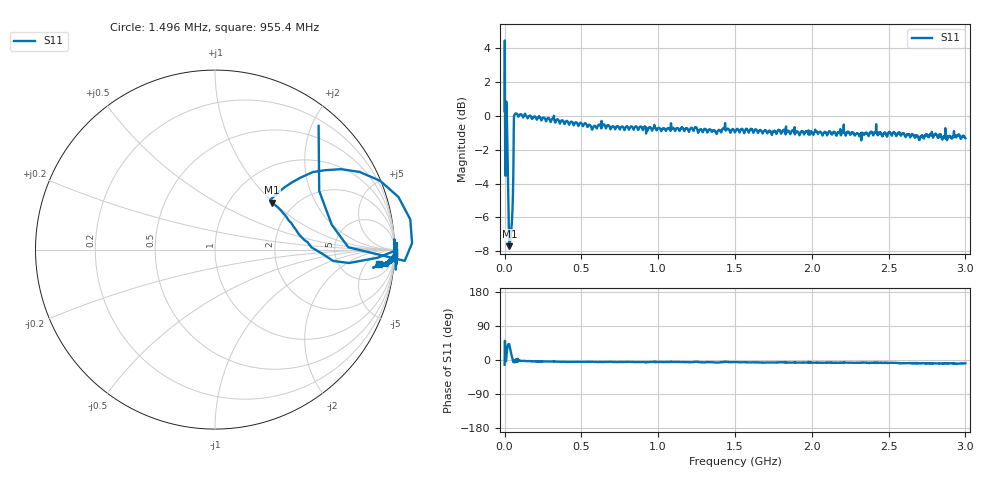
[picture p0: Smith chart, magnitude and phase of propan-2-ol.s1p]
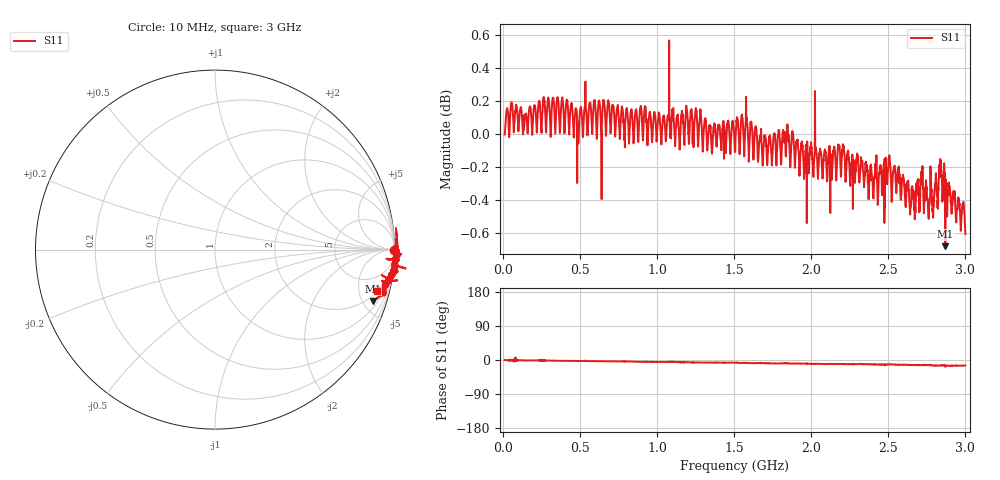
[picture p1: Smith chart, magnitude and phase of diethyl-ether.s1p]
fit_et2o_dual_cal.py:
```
"""
Dual-Reference Calibration (Water + Isopropanol) for Diethyl Ether Analysis

Method:
1. Load Reference Data:
   - Isopropanol (NPL 15°C)
   - Water (Literature 20°C)
2. Load S1P Measurements:
   - Isopropanol
   - Water
   - Diethyl Ether
3. Create Dual Calibration Mapping:
   Model: ε = α * Y + β
   Where Y = (1-S11)/(1+S11) (Admittance)
   We solve for complex coefficients α and β at each frequency using the two standards.
4. Apply mapping to Diethyl Ether S1P to extract permittivity.
5. Fit Debye model to the result.
"""

import numpy as np
import matplotlib.pyplot as plt
from pathlib import Path
import sys
from scipy.optimize import minimize

# Add parent directory to path for imports
sys.path.insert(0, str(Path(__file__).parent))
from ml_classifier.data_loader import parse_s1p_file

# =============================================================================
# MODELS
# =============================================================================

def debye_model(f, eps_s, eps_inf, tau):
    """Single Debye relaxation - returns complex permittivity"""
    omega = 2 * np.pi * f
    denom = 1 + (omega * tau)**2
    eps_prime = eps_inf + (eps_s - eps_inf) / denom
    eps_double_prime = (eps_s - eps_inf) * omega * tau / denom
    return eps_prime, eps_double_prime

def s11_to_admittance(s11_mag, phase_rad):
    """Convert S11 (polar) to Admittance Y = (1-Gamma)/(1+Gamma)"""
    gamma = s11_mag * np.exp(1j * phase_rad)
    # Avoid division by zero if gamma is exactly -1
    gamma = np.where(gamma == -1, -0.999999, gamma)
    y = (1 - gamma) / (1 + gamma)
    return y

# =============================================================================
# DATA LOADING
# =============================================================================

def load_npl_isopropanol():
    """Load NPL reference data for isopropanol at 15C"""
    csv_path = Path("isopropanol_permittivity_15C_NPL.csv")
    if not csv_path.exists():
        raise FileNotFoundError(f"Could not find {csv_path}")
        
    data = np.genfromtxt(csv_path, delimiter=',', skip_header=1)
    return {
        'freq_hz': data[:, 0] * 1e9,
        'freq_ghz': data[:, 0],
        'eps_prime': data[:, 1],
        'eps_double_prime': data[:, 3]
    }

def load_literature_water():
    """Load literature water permittivity data"""
    csv_path = Path("water_permittivity_literature.csv")
    if not csv_path.exists():
        raise FileNotFoundError(f"Could not find {csv_path}")
        
    data = np.genfromtxt(csv_path, delimiter=',', skip_header=1)
    return {
        'freq_ghz': data[:, 0],
        'eps_prime_20C': data[:, 3],
        'eps_double_prime_20C': data[:, 4]
    }

def load_s1p_file(filepath):
    """Load S1P file and return frequency, magnitude (linear), phase (rad)"""
    freq_hz, s11_db, phase_deg = parse_s1p_file(filepath)
    return {
        'freq_hz': freq_hz,
        'freq_ghz': freq_hz / 1e9,
        's11_mag': 10 ** (s11_db / 20),
        'phase_rad': np.deg2rad(phase_deg),
        's11_db': s11_db,
        'phase_deg': phase_deg
    }

# =============================================================================
# DUAL CALIBRATION
# =============================================================================

def create_dual_calibration(npl_iso, lit_water, s1p_iso, s1p_water, freq_range=(0.1e9, 3e9)):
    """
    Create calibration using TWO standards: Isopropanol and Water.
    Model: epsilon = alpha * Y + beta
    """
    # Common frequencies (use NPL iso frequencies as base)
    mask = (npl_iso['freq_hz'] >= freq_range[0]) & (npl_iso['freq_hz'] <= freq_range[1])
    freqs = npl_iso['freq_hz'][mask]
    
    # 1. Reference Permittivities at these frequencies
    # Isopropanol
    eps_iso = npl_iso['eps_prime'][mask] - 1j * npl_iso['eps_double_prime'][mask]
    
    # Water (Interpolate literature data)
    # Use 20C data as it's closest to 18C measurements
    eps_water_prime = np.interp(freqs/1e9, lit_water['freq_ghz'], lit_water['eps_prime_20C'])
    eps_water_dprime = np.interp(freqs/1e9, lit_water['freq_ghz'], lit_water['eps_double_prime_20C'])
    eps_water = eps_water_prime - 1j * eps_water_dprime
    
    # 2. Measured Admittances at these frequencies
    # Isopropanol
    s11_iso_mag = np.interp(freqs, s1p_iso['freq_hz'], s1p_iso['s11_mag'])
    phase_iso = np.interp(freqs, s1p_iso['freq_hz'], s1p_iso['phase_rad'])
    y_iso = s11_to_admittance(s11_iso_mag, phase_iso)
    
    # Water
    s11_water_mag = np.interp(freqs, s1p_water['freq_hz'], s1p_water['s11_mag'])
    phase_water = np.interp(freqs, s1p_water['freq_hz'], s1p_water['phase_rad'])
    y_water = s11_to_admittance(s11_water_mag, phase_water)
    
    # 3. Solve for alpha and beta
    # epsilon = alpha * Y + beta
    # eps_iso = alpha * y_iso + beta
    # eps_water = alpha * y_water + beta
    
    # Subtracting: eps_water - eps_iso = alpha * (y_water - y_iso)
    # alpha = (eps_water - eps_iso) / (y_water - y_iso)
    
    denom = y_water - y_iso
    # Avoid division by zero
    denom = np.where(np.abs(denom) < 1e-10, 1e-10, denom)
    
    alpha = (eps_water - eps_iso) / denom
    beta = eps_water - alpha * y_water
    
    return {
        'freq_hz': freqs,
        'alpha': alpha,
        'beta': beta,
        'y_iso': y_iso,
        'y_water': y_water,
        'eps_iso': eps_iso,
        'eps_water': eps_water
    }

def apply_dual_calibration(calibration, s1p_target):
    """Apply dual calibration to target S1P data"""
    cal_freqs = calibration['freq_hz']
    alpha = calibration['alpha']
    beta = calibration['beta']
    
    # Interpolate target S1P to calibration frequencies
    s11_mag_interp = np.interp(cal_freqs, s1p_target['freq_hz'], s1p_target['s11_mag'])
    phase_rad_interp = np.interp(cal_freqs, s1p_target['freq_hz'], s1p_target['phase_rad'])
    
    # Calculate Admittance Y for Target
    y_target = s11_to_admittance(s11_mag_interp, phase_rad_interp)
    
    # Apply Calibration: epsilon = alpha * Y + beta
    eps_complex = alpha * y_target + beta
    
    return {
        'freq_hz': cal_freqs,
        'freq_ghz': cal_freqs / 1e9,
        'eps_prime': np.real(eps_complex),
        'eps_double_prime': -np.imag(eps_complex), # Convention: eps'' is positive loss
        'y_target': y_target
    }

def fit_debye_parameters(freq_hz, eps_prime, eps_double_prime):
    """Fit Debye model to extracted permittivity"""
    
    def residual(params):
        eps_s, eps_inf, tau = params
        ep, edp = debye_model(freq_hz, eps_s, eps_inf, tau)
        
        # Weighted residual
        res_p = np.sum(((eps_prime - ep) / np.mean(eps_prime))**2)
        res_dp = np.sum(((eps_double_prime - edp) / (np.mean(eps_double_prime)+0.1))**2)
        return res_p + res_dp

    # Initial guesses for Diethyl Ether
    x0 = [4.3, 1.8, 3e-12] # eps_s, eps_inf, tau
    bounds = [(2, 10), (1, 5), (1e-14, 1e-10)]
    
    result = minimize(residual, x0, bounds=bounds, method='L-BFGS-B')
    
    eps_s, eps_inf, tau = result.x
    
    # Calculate R2
    ep_fit, edp_fit = debye_model(freq_hz, eps_s, eps_inf, tau)
    ss_res = np.sum((eps_prime - ep_fit)**2) + np.sum((eps_double_prime - edp_fit)**2)
    ss_tot = np.sum((eps_prime - np.mean(eps_prime))**2) + np.sum((eps_double_prime - np.mean(eps_double_prime))**2)
    r2 = 1 - (ss_res / ss_tot)
    
    return {
        'eps_s': eps_s,
        'eps_inf': eps_inf,
        'tau': tau,
        'f_relax': 1/(2*np.pi*tau),
        'r2': r2
    }

# =============================================================================
# PLOTTING
# =============================================================================

def plot_results(calibration, et2o_result, et2o_fit, output_path):
    """Plot the results"""
    fig, axes = plt.subplots(2, 2, figsize=(14, 10))
    
    # 1. Calibration Standards (Admittance Plane)
    ax = axes[0, 0]
    ax.plot(np.real(calibration['y_iso']), np.imag(calibration['y_iso']), 'b-', label='Iso (Ref)')
    ax.plot(np.real(calibration['y_water']), np.imag(calibration['y_water']), 'c-', label='Water (Ref)')
    ax.plot(np.real(et2o_result['y_target']), np.imag(et2o_result['y_target']), 'r-', label='Et2O (Target)')
    ax.set_title("Admittance Plane (Y)")
    ax.set_xlabel("Real(Y)")
    ax.set_ylabel("Imag(Y)")
    ax.legend()
    ax.grid(True, alpha=0.3)
    
    # 2. Calibration Coefficients
    ax = axes[0, 1]
    freq_ghz = calibration['freq_hz'] / 1e9
    ax.plot(freq_ghz, np.abs(calibration['alpha']), 'g-', label='|α|')
    ax.plot(freq_ghz, np.abs(calibration['beta']), 'm-', label='|β|')
    ax.set_title("Calibration Coeffs (ε = αY + β)")
    ax.set_xlabel("Frequency (GHz)")
    ax.set_ylabel("Magnitude")
    ax.legend()
    ax.grid(True, alpha=0.3)
    
    # 3. Extracted Et2O Permittivity & Fit
    ax = axes[1, 0]
    freq_smooth = np.linspace(et2o_result['freq_hz'].min(), et2o_result['freq_hz'].max(), 100)
    ep_fit, edp_fit = debye_model(freq_smooth, et2o_fit['eps_s'], et2o_fit['eps_inf'], et2o_fit['tau'])
    
    ax.plot(et2o_result['freq_ghz'], et2o_result['eps_prime'], 'bo', alpha=0.5, label="Data")
    ax.plot(freq_smooth/1e9, ep_fit, 'k--', linewidth=2, label="Debye Fit")
    
    ax.set_title(f"Et2O ε' Fit (εs={et2o_fit['eps_s']:.2f})")
    ax.set_xlabel("Frequency (GHz)")
    ax.set_ylabel("Real Permittivity")
    ax.legend()
    ax.grid(True, alpha=0.3)
    
    # 4. Imaginary Part
    ax = axes[1, 1]
    ax.plot(et2o_result['freq_ghz'], et2o_result['eps_double_prime'], 'ro', alpha=0.5, label="Data")
    ax.plot(freq_smooth/1e9, edp_fit, 'k--', linewidth=2, label="Debye Fit")
    
    ax.set_title(f"Et2O ε'' Fit (τ={et2o_fit['tau']*1e12:.1f}ps)")
    ax.set_xlabel("Frequency (GHz)")
    ax.set_ylabel("Imaginary Permittivity")
    ax.legend()
    ax.grid(True, alpha=0.3)
    
    plt.suptitle(f"Diethyl Ether Dual-Cal Analysis (Water+Iso)\nR²={et2o_fit['r2']:.4f}", fontsize=14)
    plt.tight_layout(rect=[0, 0.03, 1, 0.97])
    plt.savefig(output_path, dpi=300)
    print(f"Saved plot to {output_path}")

# =============================================================================
# MAIN
# =============================================================================

def main():
    print("="*80)
    print("DIETHYL ETHER DUAL-CALIBRATION ANALYSIS")
    print("Using both Water and Isopropanol as references")
    print("="*80)
    
    # 1. Load References
    print("Loading Reference Data...")
    try:
        npl_iso = load_npl_isopropanol()
        lit_water = load_literature_water()
    except Exception as e:
        print(f"Error loading references: {e}")
        return

    # 2. Load S1P Files
    print("Loading S1P Measurements...")
    try:
        # Isopropanol
        iso_path = Path("Database/Isopropanol/propan-2-ol.s1p")
        if not iso_path.exists(): iso_path = Path("compounds/propan-2-ol.s1p")
        s1p_iso = load_s1p_file(iso_path)
        
        # Water
        water_path = Path("Database/Water/DI-water.s1p")
        if not water_path.exists(): water_path = Path("compounds/DI-water.s1p")
        s1p_water = load_s1p_file(water_path)
        
        # Diethyl Ether
        et2o_path = Path("Database/Diethylether/diethyl-ether.s1p")
        if not et2o_path.exists(): et2o_path = Path("compounds/diethyl-ether.s1p")
        s1p_et2o = load_s1p_file(et2o_path)
        
    except Exception as e:
        print(f"Error loading S1P files: {e}")
        return
    
    # 3. Create Dual Calibration
    print("Creating Dual Calibration (Water + Iso)...")
    cal = create_dual_calibration(npl_iso, lit_water, s1p_iso, s1p_water)
    
    # 4. Apply to Diethyl Ether
    print("Applying Calibration to Diethyl Ether...")
    et2o_result = apply_dual_calibration(cal, s1p_et2o)
    
    # 5. Fit Debye
    print("Fitting Debye Model...")
    fit = fit_debye_parameters(et2o_result['freq_hz'], 
                               et2o_result['eps_prime'], 
                               et2o_result['eps_double_prime'])
    
    print("\nRESULTS:")
    print(f"Static Permittivity (εs): {fit['eps_s']:.2f} (Expected ~4.3)")
    print(f"High-Freq Permittivity (ε∞): {fit['eps_inf']:.2f} (Expected ~1.8)")
    print(f"Relaxation Time (τ): {fit['tau']*1e12:.2f} ps")
    print(f"Relaxation Freq: {fit['f_relax']/1e9:.2f} GHz")
    print(f"Fit Quality (R²): {fit['r2']:.4f}")
    
    # 6. Plot
    output_dir = Path("demo_results")
    output_dir.mkdir(exist_ok=True)
    plot_results(cal, et2o_result, fit, output_dir / "et2o_dual_cal.png")

if __name__ == "__main__":
    main()
```
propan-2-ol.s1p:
# HZ S RI R 50
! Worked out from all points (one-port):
!   2020 points, 10 kHz to 3 GHz, reference 50 ohm
!   lowest |S11| = -7.7 dB at 31.21 MHz (marker M1), VSWR 2.40, Z = 77.9 + j49.1 ohm
!   |S11| at or under -10 dB: nowhere
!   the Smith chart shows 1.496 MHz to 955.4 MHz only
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10000  1.007 -0.2228
5953516  0.6506 0.1382
1.635467e7  0.806 0.4327
1.932643e7  0.6108 0.4421
2.378406e7  0.4275 0.3737
3.121346e7  0.3186 0.2618
3.715698e7  0.3822 0.2005
4.310049e7  0.4379 0.1281
6.39028e7  1.004 -0.0257
7.578983e7  1.013 0.0365
3.68508e8  0.9625 -0.0802
1.000007e9  0.9154 -0.0896
2.000003e9  0.8885 -0.1093
3e9  0.849 -0.1281
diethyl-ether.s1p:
# HZ S RI R 50
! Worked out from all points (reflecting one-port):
!   2020 points, 10 MHz to 3 GHz, reference 50 ohm
!   lowest |S11| = -0.7 dB at 2.87 GHz (marker M1), VSWR 25.68, Z = 73.8 - j295 ohm
!   phase of S11 starts at -0 deg and turns -14 deg over the sweep
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1e7  0.9998 -0.000954
3.402476e8  1.004 -0.0333
1.006667e9  1.007 -0.0939
1.095522e9  1.011 -0.0794
1.237692e9  0.9901 -0.1136
1.483526e9  0.9974 -0.1203
2.003333e9  0.9719 -0.1775
2.323214e9  0.9639 -0.1841
2.462422e9  0.9407 -0.2022
2.518697e9  0.9438 -0.1878
2.660866e9  0.9366 -0.2199
2.847464e9  0.9432 -0.2284
2.869678e9  0.8789 -0.2883
3e9  0.9035 -0.2322
